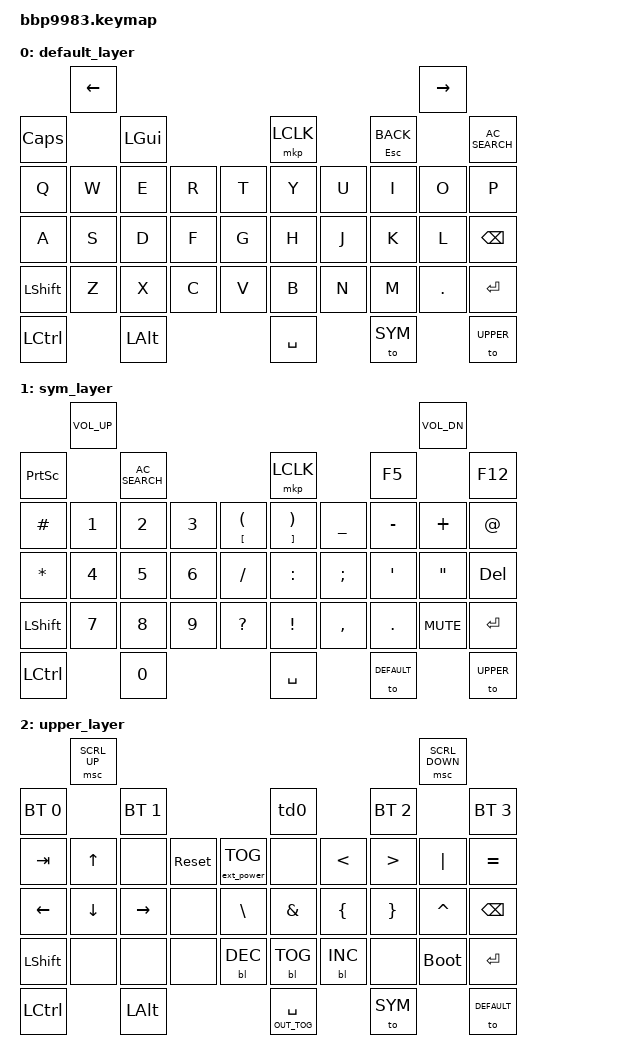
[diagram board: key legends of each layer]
/*
 * Copyright (c) 2023 ZitaoTech
 *
 * SPDX-License-Identifier: MIT
 */

#include <behaviors.dtsi>
#include <dt-bindings/zmk/keys.h>
#include <dt-bindings/zmk/bt.h>
#include <dt-bindings/zmk/outputs.h>
#include <dt-bindings/zmk/mouse.h>
#include <dt-bindings/zmk/backlight.h>
#include <dt-bindings/zmk/ext_power.h>

#define DEFAULT 0
#define SYM 1
#define UPPER 2


/ {
    behaviors {
        td0: tap_dance_0 {
            compatible = "zmk,behavior-tap-dance";
            #binding-cells = <0>;
            tapping-term-ms = <400>;
            bindings = <&mkp LCLK>, <&bt BT_CLR>;
        };
    };
    behaviors {
        hm: homerow_mods {
            compatible = "zmk,behavior-hold-tap";
            #binding-cells = <2>;
            tapping-term-ms = <500>;
            bindings = <&out &kp>;
        };
    };

    behaviors {
        bhm: balanced_homerow_mods {
            compatible = "zmk,behavior-hold-tap";
            #binding-cells = <2>;
            flavor = "balanced";
            tapping-term-ms = <400>;
            bindings = <&ext_power>, <&kp>;
        };
    };

    keymap {
        compatible = "zmk,keymap";

        default_layer {

            bindings = <
//         --------------------------------------------------------------------------------------------------------------------------         
//         |    Shoulder Key1    |                                                                             |    Shoulder Key2    |     
// |         Call key      |      Blackberry Key        |    Trackpad    |             Back Key                |             Endcall Key          |
// |     Q      |     W    |     E    |     R    |      T      |       Y        |       U        |        I        |       O      |      P        |     
// |     A      |     S    |     D    |     F    |      G      |       H        |       J        |        K        |       L      |      ←        |  
// |     alt    |     Z    |     X    |     C    |      V      |       B        |       N        |        M        |       $      |    Enter      |   
//        |         aA     |         0           |           SPACE              |         SYM         |        aA          |       
//        -----------------------------------------------------------------------------------------------------------------

                 &kp LEFT                                                                                          &kp RIGHT
    &kp CLCK                &kp LGUI                            &mkp LCLK                          &mt ESC K_BACK                    &kp C_AC_SEARCH
    &kp Q        &kp W      &kp E       &kp R     &kp T         &kp Y             &kp U            &kp I            &kp O            &kp P
    &kp A        &kp S      &kp D       &kp F     &kp G         &kp H             &kp J            &kp K            &kp L            &kp BSPC
    &kp LSHFT    &kp Z      &kp X       &kp C     &kp V         &kp B             &kp N            &kp M            &kp DOT          &kp ENTER
    &kp LCTRL               &kp LALT                            &kp SPACE                          &to SYM                           &to UPPER
            >;
        };


        sym_layer {

            bindings = <        
                 &kp C_VOL_UP                                                                                       &kp C_VOL_DN
    &kp PSCRN               &kp C_AC_SEARCH                     &mkp LCLK                          &kp F5                            &kp F12 
    &kp HASH     &kp N1     &kp N2      &kp N3    &mt LBKT LPAR &mt RBKT RPAR     &kp UNDER        &kp MINUS        &kp PLUS         &kp AT
    &kp STAR     &kp N4     &kp N5      &kp N6    &kp SLASH     &kp COLON         &kp SEMI         &kp APOS         &kp DQT          &kp DEL
    &kp LSHFT    &kp N7     &kp N8      &kp N9    &kp QMARK     &kp EXCL          &kp COMMA        &kp DOT          &kp C_MUTE       &kp ENTER
    &kp LCTRL               &kp N0                              &kp SPACE                          &to DEFAULT                       &to UPPER
            >;
        };

        upper_layer {

            bindings = <
                 &msc SCRL_UP                                                                                       &msc SCRL_DOWN
    &bt BT_SEL 0            &bt BT_SEL 1                             &td0                           &bt BT_SEL 2                     &bt BT_SEL 3
    &kp TAB      &kp UP     &none       &sys_reset &ext_power EP_TOG &none         &kp LT           &kp GT          &kp PIPE         &kp EQUAL
    &kp LEFT     &kp DOWN   &kp RIGHT   &none      &kp BSLH          &kp AMPS      &kp LBRC         &kp RBRC        &kp CARET        &kp BSPC
    &kp LSHFT    &none      &none       &none      &bl BL_DEC        &bl BL_TOG    &bl BL_INC       &none           &bootloader      &kp ENTER
    &kp LCTRL               &kp LALT                                 &hm OUT_TOG SPACE              &to SYM                          &to DEFAULT
            >;
        };
    };
};

